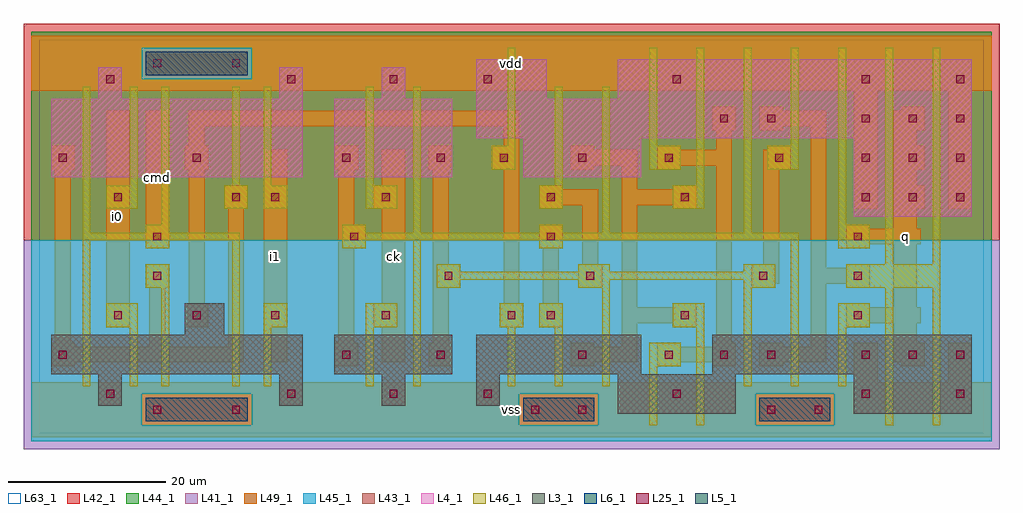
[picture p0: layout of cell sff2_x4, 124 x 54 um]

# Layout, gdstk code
import gdstk
lib = gdstk.Library(unit=1e-6, precision=1e-09)
def R(c, l, rs):  # rectangles x0, y0, x1, y1
    for r in rs: c.add(gdstk.rectangle(r[:2], r[2:], *l))
def A(c, l, x, y, w, h, nx, ny, dx, dy):  # array of equal rectangles
    R(c, l, [(x+i*dx, y+j*dy, x+i*dx+w, y+j*dy+h) for i in range(nx) for j in range(ny)])
L3_1 = (3, 1)
L4_1 = (4, 1)
L5_1 = (5, 1)
L6_1 = (6, 1)
L25_1 = (25, 1)
L41_1 = (41, 1)
L42_1 = (42, 1)
L43_1 = (43, 1)
L44_1 = (44, 1)
L45_1 = (45, 1)
L46_1 = (46, 1)
L49_1 = (49, 1)
L63_1 = (63, 1)

sff2_x4 = lib.new_cell('sff2_x4')
R(sff2_x4, L3_1, [(73.5,2.5,88.5,7.5), (103.5,2.5,118.5,7.5), (7.5,3.5,10.5,7.5), (30.5,3.5,33.5,7.5), (43.5,3.5,46.5,7.5), (55.5,3.5,58.5,7.5), (1.5,7.5,33.5,12.5), (37.5,7.5,52.5,12.5), (55.5,7.5,76.5,12.5), (85.5,7.5,118.5,12.5), (18.5,12.5,23.5,16.5)])
R(sff2_x4, L4_1, [(103.5,27.5,118.5,37.5), (1.5,32.5,33.5,42.5), (37.5,32.5,52.5,42.5), (61.5,32.5,76.5,37.5), (55.5,37.5,118.5,42.5), (7.5,42.5,10.5,46.5), (30.5,42.5,33.5,46.5), (43.5,42.5,46.5,46.5), (55.5,42.5,64.5,47.5), (73.5,42.5,118.5,47.5)])
R(sff2_x4, L5_1, [(13.5,45.5,26.5,48.5)])
R(sff2_x4, L6_1, [(13.5,1.5,26.5,4.5), (61.5,1.5,70.5,4.5), (91.5,1.5,100.5,4.5)])
A(sff2_x4, L25_1, 56.5, 4.5, 1, 1, 3, 2, 24, 40)
A(sff2_x4, L25_1, 104.5, 9.5, 1, 1, 3, 2, 6, 20)
A(sff2_x4, L25_1, 9.5, 14.5, 1, 1, 3, 1, 10, 0)
A(sff2_x4, L25_1, 103.5, 14.5, 1, 1, 1, 3, 0, 5)
A(sff2_x4, L25_1, 14.5, 24.5, 1, 1, 3, 1, 25, 0)
A(sff2_x4, L25_1, 104.5, 34.5, 1, 1, 3, 2, 6, 5)
R(sff2_x4, L25_1, [(14.5,2.5,15.5,3.5), (24.5,2.5,25.5,3.5), (62.5,2.5,63.5,3.5), (68.5,2.5,69.5,3.5), (92.5,2.5,93.5,3.5), (98.5,2.5,99.5,3.5), (8.5,4.5,9.5,5.5), (31.5,4.5,32.5,5.5), (44.5,4.5,45.5,5.5), (116.5,4.5,117.5,5.5), (2.5,9.5,3.5,10.5), (38.5,9.5,39.5,10.5), (50.5,9.5,51.5,10.5), (68.5,9.5,69.5,10.5), (79.5,9.5,80.5,10.5), (86.5,9.5,87.5,10.5), (92.5,9.5,93.5,10.5), (43.5,14.5,44.5,15.5), (59.5,14.5,60.5,15.5), (64.5,14.5,65.5,15.5), (81.5,14.5,82.5,15.5), (14.5,19.5,15.5,20.5), (51.5,19.5,52.5,20.5), (69.5,19.5,70.5,20.5), (91.5,19.5,92.5,20.5), (9.5,29.5,10.5,30.5), (24.5,29.5,25.5,30.5), (29.5,29.5,30.5,30.5), (43.5,29.5,44.5,30.5), (64.5,29.5,65.5,30.5), (81.5,29.5,82.5,30.5), (2.5,34.5,3.5,35.5), (19.5,34.5,20.5,35.5), (38.5,34.5,39.5,35.5), (50.5,34.5,51.5,35.5), (58.5,34.5,59.5,35.5), (68.5,34.5,69.5,35.5), (79.5,34.5,80.5,35.5), (93.5,34.5,94.5,35.5), (86.5,39.5,87.5,40.5), (92.5,39.5,93.5,40.5), (8.5,44.5,9.5,45.5), (31.5,44.5,32.5,45.5), (44.5,44.5,45.5,45.5), (116.5,44.5,117.5,45.5), (14.5,46.5,15.5,47.5), (24.5,46.5,25.5,47.5)])
R(sff2_x4, L41_1, [(-2,-2,122,24.5)])
R(sff2_x4, L42_1, [(-2,24.5,122,52)])
R(sff2_x4, L43_1, [(13.5,1.5,26.5,4.5), (61.5,1.5,70.5,4.5), (91.5,1.5,100.5,4.5), (73.5,2.5,88.5,7.5), (103.5,2.5,118.5,7.5), (7.5,3.5,10.5,7.5), (30.5,3.5,33.5,7.5), (43.5,3.5,46.5,7.5), (55.5,3.5,58.5,7.5), (1.5,7.5,33.5,12.5), (37.5,7.5,52.5,12.5), (55.5,7.5,76.5,12.5), (85.5,7.5,118.5,12.5), (18.5,12.5,23.5,16.5), (103.5,27.5,118.5,37.5), (1.5,32.5,33.5,42.5), (37.5,32.5,52.5,42.5), (61.5,32.5,76.5,37.5), (55.5,37.5,118.5,42.5), (7.5,42.5,10.5,46.5), (30.5,42.5,33.5,46.5), (43.5,42.5,46.5,46.5), (55.5,42.5,64.5,47.5), (73.5,42.5,118.5,47.5), (13.5,45.5,26.5,48.5)])
R(sff2_x4, L44_1, [(13,1,27,5), (61,1,71,5), (91,1,101,5), (-1,24.5,121,45), (-1,45,13,49), (27,45,121,49), (-1,49,121,51)])
R(sff2_x4, L45_1, [(-1,-1,121,1), (-1,1,13,5), (27,1,61,5), (71,1,91,5), (101,1,121,5), (-1,5,121,24.5), (13,45,27,49)])
A(sff2_x4, L46_1, 13.5, 23.5, 3, 1, 3, 2, 25, 2)
A(sff2_x4, L46_1, 59.5, 36.5, 1, 12.5, 3, 1, 18, 0)
R(sff2_x4, L46_1, [(77.5,1,78.5,8.5), (83.5,1,84.5,13.5), (107.5,1,108.5,18.5), (113.5,1,114.5,18.5), (5.5,6,6.5,24.5), (11.5,6,12.5,13.5), (15.5,6,16.5,18.5), (24.5,6,25.5,24.5), (28.5,6,29.5,13.5), (41.5,6,42.5,13.5), (47.5,6,48.5,24.5), (59.5,6,60.5,13.5), (65.5,6,66.5,13.5), (71.5,6,72.5,18.5), (89.5,6,90.5,18.5), (95.5,6,96.5,24.5), (101.5,6,102.5,13.5), (77.5,8.5,81.5,11.5), (8.5,13.5,12.5,16.5), (28.5,13.5,31.5,16.5), (41.5,13.5,45.5,16.5), (58.5,13.5,61.5,16.5), (63.5,13.5,66.5,16.5), (80.5,13.5,84.5,16.5), (101.5,13.5,105.5,16.5), (13.5,18.5,16.5,21.5), (50.5,18.5,53.5,19.5), (68.5,18.5,72.5,19.5), (89.5,18.5,93.5,19.5), (102.5,18.5,114.5,21.5), (50.5,19.5,93.5,20.5), (50.5,20.5,53.5,21.5), (68.5,20.5,72.5,21.5), (89.5,20.5,93.5,21.5), (107.5,21.5,108.5,49), (113.5,21.5,114.5,49), (101.5,23.5,105.5,26.5), (5.5,24.5,25.5,25.5), (38.5,24.5,96.5,25.5), (5.5,25.5,6.5,44), (47.5,25.5,48.5,44), (71.5,25.5,72.5,44), (89.5,25.5,90.5,49), (15.5,26.5,16.5,44), (101.5,26.5,102.5,49), (8.5,28.5,12.5,31.5), (23.5,28.5,26.5,31.5), (28.5,28.5,31.5,31.5), (41.5,28.5,45.5,31.5), (63.5,28.5,66.5,31.5), (80.5,28.5,84.5,31.5), (11.5,31.5,12.5,44), (24.5,31.5,25.5,44), (28.5,31.5,29.5,44), (41.5,31.5,42.5,44), (65.5,31.5,66.5,44), (83.5,31.5,84.5,49), (57.5,33.5,60.5,36.5), (77.5,33.5,81.5,36.5), (92.5,33.5,96.5,36.5)])
A(sff2_x4, L49_1, 102.5, 13.5, 3, 0.5, 1, 6, 0, 2.5)
R(sff2_x4, L49_1, [(-1,-0.5,121,6.5), (103.5,6.5,106.5,11.5), (115.5,6.5,118.5,11.5), (1.5,8.5,4.5,9), (37.5,8.5,40.5,11.5), (49.5,8.5,52.5,11.5), (67.5,8.5,70.5,9), (78.5,8.5,81.5,9), (85.5,8.5,88.5,9), (91.5,8.5,94.5,9), (109.5,8.5,112.5,9), (1.5,9,26,11), (28.5,9,31.5,36), (43.5,9,46.5,13.5), (67.5,9,76,11), (78.5,9,88.5,11), (91.5,9,100,11), (108.5,9,112.5,11.5), (1.5,11,4.5,11.5), (14,11,16,18.5), (24,11,26,28.5), (67.5,11,70.5,11.5), (74,11,76,14), (78.5,11,81.5,11.5), (85.5,11,88.5,11.5), (91.5,11,94.5,11.5), (98,11,100,19), (2,11.5,4,33.5), (38,11.5,40,23.5), (50,11.5,52,18.5), (86,11.5,88,34), (108.5,11.5,111.5,14), (8.5,13.5,11.5,41), (18.5,13.5,21.5,16.5), (42.5,13.5,46.5,16.5), (58.5,13.5,61.5,16.5), (63.5,13.5,66.5,16.5), (80.5,13.5,83.5,14), (74,14,83.5,16), (102.5,14,112,16), (74,16,76,29), (80.5,16,83.5,16.5), (108.5,16,111.5,24), (19,16.5,21,33.5), (43.5,16.5,46.5,28.5), (59,16.5,61,33.5), (64,16.5,66,23.5), (13.5,18.5,16.5,21.5), (50,18.5,53.5,21.5), (68.5,18.5,71.5,21.5), (90.5,18.5,93.5,19), (90.5,19,94,21.5), (98,19,105.5,21), (98,21,100,39), (50,21.5,52,33.5), (69,21.5,71,29), (92,21.5,94,33.5), (13.5,23.5,16.5,41), (38,23.5,41.5,26.5), (63.5,23.5,66.5,26.5), (102.5,24,112,26), (108.5,26,111.5,28.5), (38,26.5,40,33.5), (23.5,28.5,26.5,31.5), (42.5,28.5,46.5,31.5), (63.5,28.5,66.5,29), (80.5,28.5,83.5,29), (103.5,28.5,106.5,43.5), (108.5,28.5,112.5,31.5), (115.5,28.5,118.5,43.5), (63.5,29,71,31), (74,29,83.5,31), (63.5,31,66.5,31.5), (74,31,76,34), (80.5,31,83.5,31.5), (43.5,31.5,46.5,36), (108.5,31.5,111.5,33.5), (1.5,33.5,4.5,36.5), (18.5,33.5,21.5,36.5), (37.5,33.5,40.5,36.5), (49.5,33.5,52.5,36.5), (57.5,33.5,61,36.5), (67.5,33.5,70.5,34), (78.5,33.5,81.5,34), (92,33.5,95.5,36), (108.5,33.5,112.5,36.5), (67.5,34,76,36), (78.5,34,88,36), (67.5,36,70.5,36.5), (78.5,36,81.5,36.5), (86,36,88,38.5), (92.5,36,95.5,36.5), (19,36.5,21,39), (59,36.5,61,39), (108.5,36.5,111.5,38.5), (85.5,38.5,88.5,41.5), (91.5,38.5,94.5,39), (108.5,38.5,112.5,41), (19,39,61,41), (91.5,39,100,41), (91.5,41,94.5,41.5), (109.5,41,112.5,41.5), (-1,43.5,121,50.5)])
R(sff2_x4, L63_1, [(0,0,120,50)])
sff2_x4.add(gdstk.Label('i0', (10,27.5), layer=49, texttype=1))
sff2_x4.add(gdstk.Label('i0', (10,27.5), layer=49, texttype=1))
sff2_x4.add(gdstk.Label('cmd', (15,32.5), layer=49, texttype=1))
sff2_x4.add(gdstk.Label('cmd', (15,32.5), layer=49, texttype=1))
sff2_x4.add(gdstk.Label('ck', (45,22.5), layer=49, texttype=1))
sff2_x4.add(gdstk.Label('i1', (30,22.5), layer=49, texttype=1))
sff2_x4.add(gdstk.Label('ck', (45,22.5), layer=49, texttype=1))
sff2_x4.add(gdstk.Label('i1', (30,22.5), layer=49, texttype=1))
sff2_x4.add(gdstk.Label('vss', (60,3), layer=49, texttype=1))
sff2_x4.add(gdstk.Label('vss', (60,3), layer=49, texttype=1))
sff2_x4.add(gdstk.Label('vdd', (60,47), layer=49, texttype=1))
sff2_x4.add(gdstk.Label('vdd', (60,47), layer=49, texttype=1))
sff2_x4.add(gdstk.Label('q', (110,25), layer=49, texttype=1))
sff2_x4.add(gdstk.Label('q', (110,25), layer=49, texttype=1))

lib.write_gds('sff2_x4.gds')
